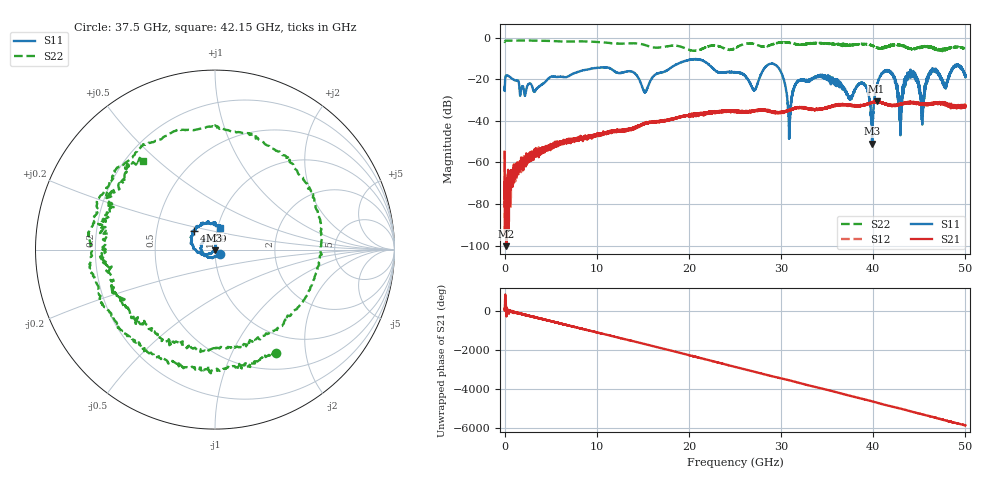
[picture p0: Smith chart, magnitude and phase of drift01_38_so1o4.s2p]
!Created with skrf (http://scikit-rf.org).
# Hz S RI R 50.0
!freq ReS11 ImS11 ReS21 ImS21 ReS12 ImS12 ReS22 ImS22
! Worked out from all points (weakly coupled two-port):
!   10001 points, 300 kHz to 50 GHz, reference 50 ohm
!   highest |S21| = -30.64 dB at 40.36 GHz (marker M1); lowest = -100.2 dB at 200.3 MHz (marker M2)
!   lowest |S11| = -50.9 dB at 39.89 GHz (marker M3), VSWR 1.01, Z = 49.8 - j0.181 ohm
!   |S11| at or under -10 dB: start of sweep to end of sweep
!   |S22| runs from -6.5 to -1.4 dB; largest |S21 - S12| = 0.0038
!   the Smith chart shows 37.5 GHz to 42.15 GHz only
!   S11 on the Smith chart (normalised r, x): 37.5 GHz: 1.06, -0.05; 41.29 GHz: 0.77, +0.16; 42.15 GHz: 1.03, +0.25
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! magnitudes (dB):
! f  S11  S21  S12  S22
! 300 kHz  -23.7  -55.0  -54.3  -2.0
! 200.3 MHz  -18.1  -100.2  -75.8  -1.4
! 8.335 GHz  -15.9  -48.7  -48.0  -1.8
! 16.67 GHz  -17.1  -40.2  -40.5  -4.8
! 25 GHz  -16.6  -35.4  -35.4  -5.1
! 27.1 GHz  -25.3  -35.1  -35.1  -3.2
! 29.41 GHz  -13.2  -35.9  -36.0  -2.8
! 30.91 GHz  -45.4  -34.9  -34.9  -2.5
! 31.67 GHz  -21.7  -33.7  -33.7  -3.2
! 33.34 GHz  -19.6  -34.5  -34.2  -2.7
! 37.5 GHz  -29.0  -32.4  -32.5  -3.5
! 38.94 GHz  -22.2  -32.3  -32.4  -3.1
! 39.89 GHz  -50.9  -31.0  -31.1  -3.7
! 40.36 GHz  -23.7  -30.6  -30.8  -4.8
! 41.29 GHz  -16.1  -31.8  -31.8  -4.5
! 41.67 GHz  -16.2  -32.1  -32.5  -4.1
! 42.15 GHz  -18.1  -32.4  -32.6  -3.9
! 42.92 GHz  -35.9  -32.4  -32.0  -3.6
! 43.97 GHz  -17.2  -31.2  -31.0  -5.3
! 45.31 GHz  -37.8  -32.0  -31.8  -4.4
! 46.42 GHz  -15.6  -31.5  -31.8  -4.7
! 50 GHz  -17.9  -32.7  -33.1  -5.3
